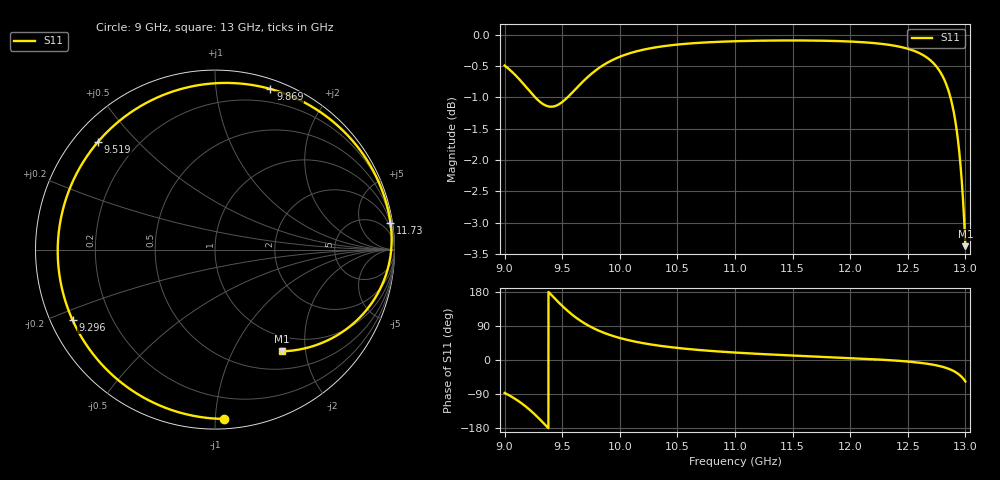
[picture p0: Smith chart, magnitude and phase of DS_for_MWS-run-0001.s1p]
! TOUCHSTONE file generated by CST DESIGN STUDIO
! Date and time: Tue Feb  4 18:23:00 2025
! Project name: C:\Work\MatlabApps\UnitCellOptimizationMatlab\CST\unitcell.cst
! Tree item: Tasks\Sweep1\SPara1\S-Parameters
! Header version: 2024
! Port assignment regex: !\s*Touchstone port\s*([0-9]+)\s*=\s*(CST MWS port|CST DES external port|CST DES block port)\s*(.+)\s* \(\"(.*)\"\)(\s*mode\s*([0-9]+))?.*
! Touchstone port assignment:
! Touchstone port 1 = CST DES external port 1 ("")
# GHz S MA R 50
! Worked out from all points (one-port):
!   4001 points, 9 GHz to 13 GHz, reference 50 ohm
!   lowest |S11| = -3.4 dB at 13 GHz (marker M1), VSWR 5.21, Z = 37.8 - j79.2 ohm
!   |S11| at or under -10 dB: nowhere
!   S11 on the Smith chart (normalised r, x): 9 GHz: 0.06, -1.05; 9.296 GHz: 0.06, -0.23; 9.519 GHz: 0.07, +0.39; 9.869 GHz: 0.08, +1.40; 11.73 GHz: 1, +13; 13 GHz: 0.76, -1.58
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9  0.9446 -86.9
9.085  0.9298 -101.4
9.159  0.9142 -116.9
9.227  0.8991 -133.9
9.296  0.8854 -153.6
9.347  0.8786 -169.5
9.396  0.8759 174.9
9.446  0.8774 159.1
9.5  0.8834 142.8
9.519  0.8863 137.4
9.59  0.8994 118.8
9.667  0.9147 101.9
9.755  0.9306 86.3
9.869  0.9469 71.0
10  0.96 58.1
10.216  0.9731 43.7
10.5  0.9817 31.9
11  0.9877 19.6
11.5  0.9892 11.8
11.733  0.9888 8.7
12  0.9872 5.1
12.5  0.9742 -4.1
12.713  0.9507 -12.1
12.842  0.9084 -21.8
12.888  0.8771 -27.6
12.926  0.8369 -34.2
12.955  0.7915 -41.0
13  0.6779 -56.7
